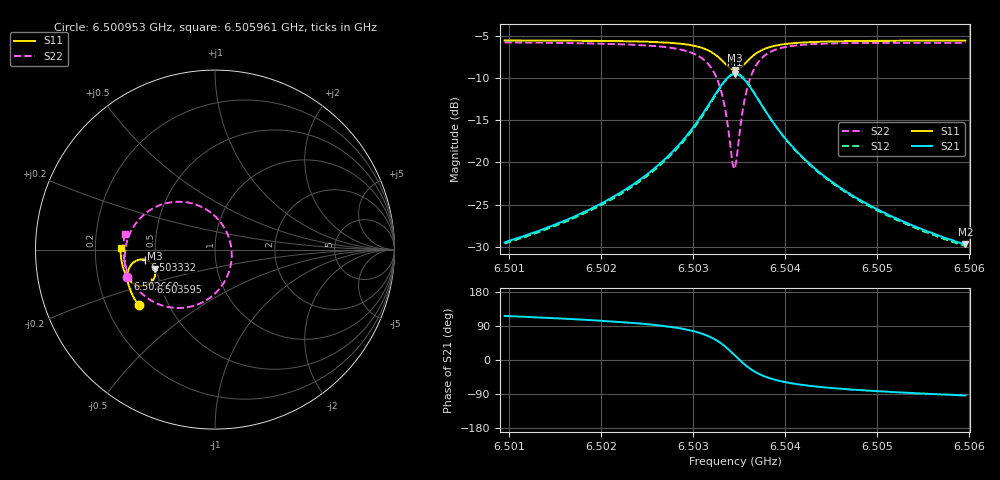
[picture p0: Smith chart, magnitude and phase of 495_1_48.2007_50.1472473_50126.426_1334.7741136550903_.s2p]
#  HZ  S  RI  R  50.00
! Rohde & Schwarz Vector Network Analyzer
! Rohde-Schwarz,ZNB20-2Port,1311601062101988,3.16
! Created: UTC 3/20/2024, 11:58:13 AM
! freq[Hz]  re:S11  im:S11  re:S21  im:S21  re:S12  im:S12  re:S22  im:S22
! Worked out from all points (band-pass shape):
!   401 points, 6.500953 GHz to 6.505961 GHz, reference 50 ohm
!   highest |S21| = -9.55 dB at 6.503457 GHz (marker M1); lowest = -29.7 dB at 6.505961 GHz (marker M2)
!   |S21| within 3 dB of the highest: 6.503208 GHz to 6.503708 GHz (499.8 kHz wide, 0.00769 % of centre)
!   lowest |S11| = -9.1 dB at 6.503457 GHz (marker M3), VSWR 2.09, Z = 24.4 - j5.91 ohm
!   |S11| at or under -10 dB: nowhere
!   |S22| runs from -20.7 to -5.8 dB; largest |S21 - S12| = 0.011
!   S11 on the Smith chart (normalised r, x): 6.500953 GHz: 0.34, -0.29; 6.502669 GHz: 0.33, -0.14; 6.503332 GHz: 0.44, -0.06; 6.503595 GHz: 0.45, -0.19; 6.505961 GHz: 0.31, +0.01
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6.5009532e9  -0.4262 -0.3102  -0.0149 0.03  -0.0132 0.0303  -0.4894 -0.155
6.5017921e9  -0.4624 -0.2482  -0.0142 0.0481  -0.0119 0.0476  -0.5029 -0.0659
6.5022804e9  -0.4794 -0.2047  -0.0109 0.069  -0.00804 0.0678  -0.4991 0.00406
6.502631e9  -0.4876 -0.1653  -0.00224 0.0969  0.00125 0.0948  -0.4802 0.0754
6.5026686e9  -0.4881 -0.1605  -0.000437 0.1011  0.00301 0.0989  -0.4763 0.0846
6.502944e9  -0.484 -0.1175  0.0264 0.1439  0.0298 0.1397  -0.4205 0.1707
6.5031318e9  -0.4626 -0.0792  0.0807 0.1863  0.083 0.1805  -0.3166 0.2436
6.5032445e9  -0.4297 -0.0584  0.1504 0.2041  0.1509 0.1983  -0.1915 0.2665
6.5033322e9  -0.3888 -0.0565  0.2305 0.188  0.2307 0.1837  -0.0528 0.226
6.5034323e9  -0.342 -0.0912  0.3159 0.1  0.3185 0.0961  0.0813 0.0546
6.5034574e9  -0.3355 -0.1061  0.3263 0.0674  0.3297 0.0626  0.0926 -0.00646
6.5034824e9  -0.3323 -0.1221  0.3299 0.0334  0.3338 0.0273  0.0908 -0.0687
6.50352e9  -0.3342 -0.1457  0.3232 -0.0163  0.3268 -0.0244  0.0646 -0.1566
6.5035575e9  -0.343 -0.1664  0.3041 -0.059  0.3064 -0.0687  0.0168 -0.2279
6.5035951e9  -0.356 -0.1823  0.2776 -0.0918  0.2778 -0.1027  -0.0427 -0.2785
6.5037078e9  -0.401 -0.2021  0.1919 -0.1371  0.1873 -0.1466  -0.216 -0.3253
6.5038705e9  -0.4478 -0.1927  0.1094 -0.1336  0.1026 -0.1388  -0.365 -0.2778
6.5040458e9  -0.4755 -0.1713  0.0643 -0.1132  0.0583 -0.1156  -0.4377 -0.2121
6.5042962e9  -0.4963 -0.1413  0.0342 -0.0887  0.0296 -0.0891  -0.4815 -0.1395
6.5046593e9  -0.5117 -0.1032  0.0155 -0.0657  0.0122 -0.0654  -0.5037 -0.0664
6.5051351e9  -0.5215 -0.0589  0.00511 -0.0483  0.00283 -0.0478  -0.5104 0.00141
6.5059615e9  -0.5264 0.0111  -0.00208 -0.0326  -0.00324 -0.0317  -0.5026 0.089
